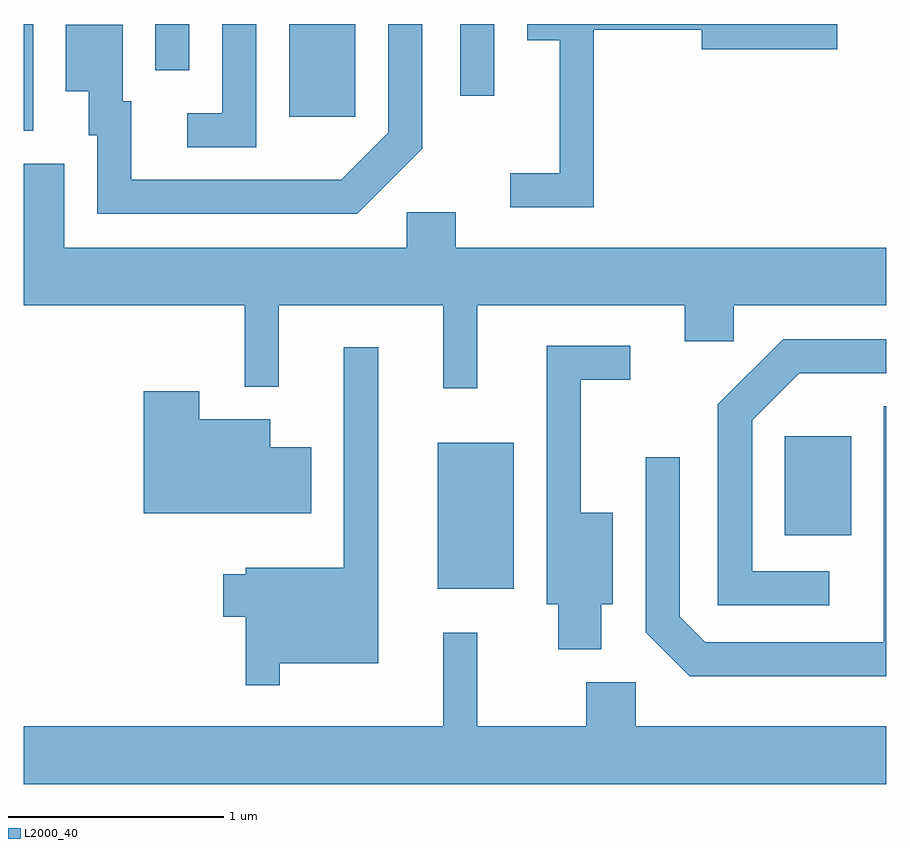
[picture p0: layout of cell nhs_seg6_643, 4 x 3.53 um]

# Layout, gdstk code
import gdstk
lib = gdstk.Library(unit=1e-6, precision=1e-09)
def R(c, l, rs):  # rectangles x0, y0, x1, y1
    for r in rs: c.add(gdstk.rectangle(r[:2], r[2:], *l))
def P(c, l, *ps):  # polygons
    for p in ps: c.add(gdstk.Polygon(p, *l))
L2000_40 = (2000, 40)

nhs_seg6_643 = lib.new_cell('nhs_seg6_643')
R(nhs_seg6_643, L2000_40, [(205.531,1617.541,205.884,1618.219), (207.141,1617.791,207.449,1618.249), (203.611,1619.666,203.654,1620.162), (204.841,1619.731,205.149,1620.162), (205.636,1619.828,205.794,1620.162), (204.221,1619.948,204.379,1620.162)])
P(nhs_seg6_643, L2000_40, [(206.254,1620.136),(206.756,1620.136),(206.756,1620.046),(207.384,1620.046),(207.384,1620.162),(205.946,1620.162),(205.946,1620.086),(206.096,1620.086),(206.096,1619.469),(205.868,1619.469),(205.868,1619.311),(206.254,1619.311)],
  [(204.689,1620.162),(204.531,1620.162),(204.531,1619.749),(204.368,1619.749),(204.368,1619.591),(204.689,1619.591)],
  [(205.459,1619.584),(205.459,1620.162),(205.301,1620.162),(205.301,1619.657),(205.084,1619.439),(204.109,1619.439),(204.109,1619.804),(204.069,1619.804),(204.069,1620.159),(203.806,1620.159),(203.806,1619.851),(203.911,1619.851),(203.911,1619.646),(203.951,1619.646),(203.951,1619.281),(205.157,1619.281)],
  [(205.714,1618.856),(206.676,1618.856),(206.676,1618.691),(206.904,1618.691),(206.904,1618.856),(207.611,1618.856),(207.611,1619.124),(205.614,1619.124),(205.614,1619.289),(205.386,1619.289),(205.386,1619.124),(203.799,1619.124),(203.799,1619.514),(203.611,1619.514),(203.611,1618.856),(204.636,1618.856),(204.636,1618.478),(204.794,1618.478),(204.794,1618.856),(205.556,1618.856),(205.556,1618.473),(205.714,1618.473)],
  [(207.348,1617.624),(206.989,1617.624),(206.989,1618.324),(207.207,1618.541),(207.611,1618.541),(207.611,1618.699),(207.134,1618.699),(206.831,1618.397),(206.831,1617.466),(207.348,1617.466)],
  [(206.289,1617.471),(206.344,1617.471),(206.344,1617.894),(206.194,1617.894),(206.194,1618.511),(206.423,1618.511),(206.423,1618.669),(206.036,1618.669),(206.036,1617.471),(206.091,1617.471),(206.091,1617.261),(206.289,1617.261)],
  [(204.799,1617.196),(205.254,1617.196),(205.254,1618.663),(205.096,1618.663),(205.096,1617.639),(204.641,1617.639),(204.641,1617.609),(204.536,1617.609),(204.536,1617.411),(204.641,1617.411),(204.641,1617.093),(204.799,1617.093)],
  [(204.944,1618.199),(204.754,1618.199),(204.754,1618.329),(204.424,1618.329),(204.424,1618.459),(204.166,1618.459),(204.166,1617.891),(204.944,1617.891)],
  [(207.611,1618.389),(207.601,1618.389),(207.601,1617.294),(206.772,1617.294),(206.654,1617.412),(206.654,1618.153),(206.496,1618.153),(206.496,1617.339),(206.699,1617.136),(207.611,1617.136)],
  [(207.611,1616.904),(206.449,1616.904),(206.449,1617.109),(206.221,1617.109),(206.221,1616.904),(205.714,1616.904),(205.714,1617.338),(205.556,1617.338),(205.556,1616.904),(203.611,1616.904),(203.611,1616.636),(207.611,1616.636)])

lib.write_gds('nhs_seg6_643.gds')
